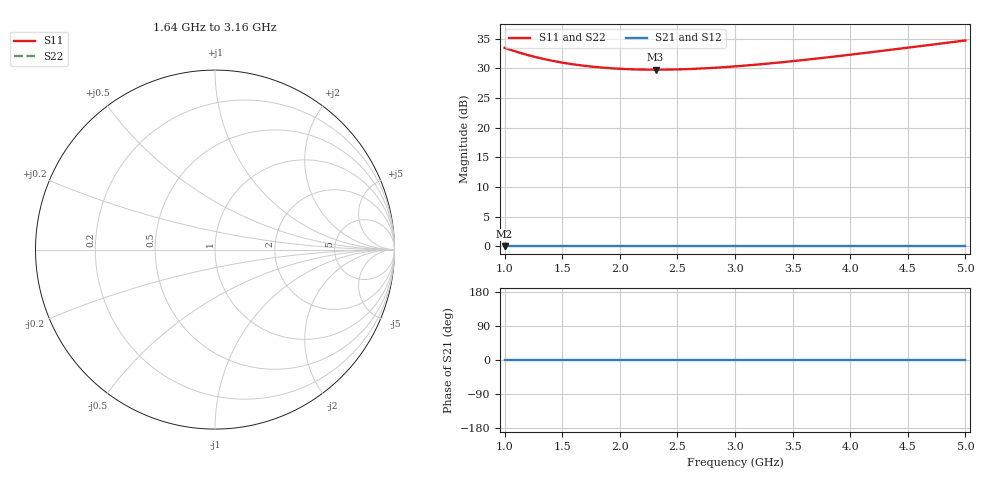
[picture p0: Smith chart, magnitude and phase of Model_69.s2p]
# GHZ S RI R 50
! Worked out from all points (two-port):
!   401 points, 1 GHz to 5 GHz, reference 50 ohm
!   highest |S21| = 0.00 dB at 1 GHz (marker M1); lowest = 0.0 dB at 1 GHz (marker M2)
!   |S21| within 3 dB of the highest: start of sweep to end of sweep
!   lowest |S11| = 29.8 dB at 2.31 GHz (marker M3)
!   |S11| at or under -10 dB: nowhere
!   |S22| runs from 29.8 to 34.7 dB; largest |S21 - S12| = 0
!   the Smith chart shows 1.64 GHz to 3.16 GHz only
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1  47.21 0  1 0  1 0  47.21 0
1.15  42.3 0  1 0  1 0  42.3 0
1.22  40.49 0  1 0  1 0  40.49 0
1.3  38.72 0  1 0  1 0  38.72 0
1.38  37.22 0  1 0  1 0  37.22 0
1.47  35.79 0  1 0  1 0  35.79 0
1.57  34.5 0  1 0  1 0  34.5 0
1.67  33.45 0  1 0  1 0  33.45 0
1.82  32.27 0  1 0  1 0  32.27 0
1.97  31.48 0  1 0  1 0  31.48 0
2.14  30.98 0  1 0  1 0  30.98 0
2.31  30.82 0  1 0  1 0  30.82 0
2.34  30.82 0  1 0  1 0  30.82 0
2.5  30.99 0  1 0  1 0  30.99 0
2.66  31.38 0  1 0  1 0  31.38 0
3  32.86 0  1 0  1 0  32.86 0
3.33  35.01 0  1 0  1 0  35.01 0
3.67  37.88 0  1 0  1 0  37.88 0
4  41.23 0  1 0  1 0  41.23 0
4.34  45.21 0  1 0  1 0  45.21 0
4.63  49.02 0  1 0  1 0  49.02 0
5  54.38 0  1 0  1 0  54.38 0
